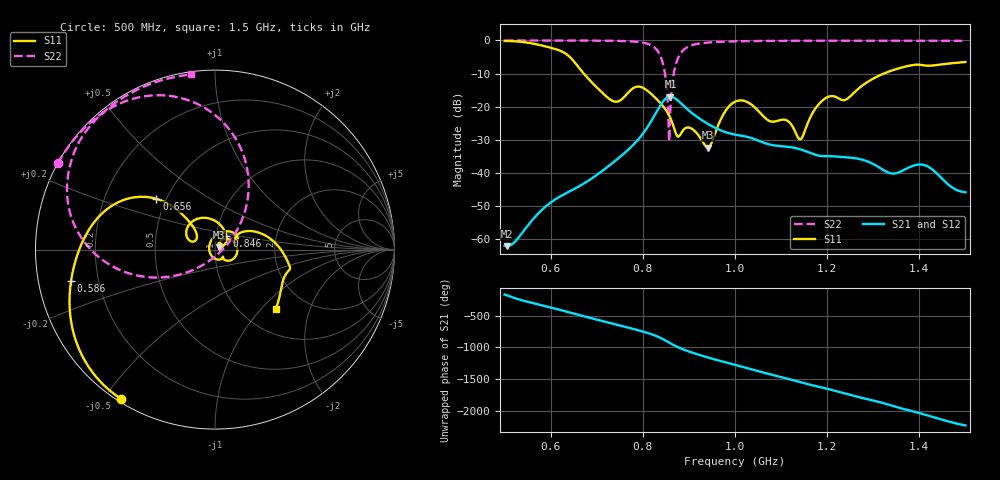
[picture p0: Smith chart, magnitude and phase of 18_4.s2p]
! TOUCHSTONE file generated by CST MICROWAVE STUDIO
! Date and time: Wed Oct 28 19:16:47 2020
! Project name: Scenario_1_Circular_Tissue_out_of_Line.cst
! Parameters = {dy1=-51.203; L_HA=400; MT=2.54; Rad_Dielectric=30; Rad_Lower=7.3; Rad_Upper=30; a_HA=580; a_WG=246; b_HA=500; b_WG=121; c_HA=0; c_WG=187; d_feed=85; dx1=693; h_feed=15; h_lower=18; h_upper=40}
! Header version: 2018
! Port assignment regex: !\s*Touchstone port\s*([0-9]+)\s*=\s*(CST MWS port|CST DS port)\s*([0-9]+|Zmin|Zmax)\s*\(\"(.*)\"\)(\s*mode\s*([0-9]+))?.*
! Touchstone port assignment:
! Touchstone port 1 = CST MWS port 1 ("")
! Touchstone port 2 = CST MWS port 2 ("")
# GHz S DB R 50
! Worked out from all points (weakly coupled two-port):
!   1001 points, 500 MHz to 1.5 GHz, reference 50 ohm
!   highest |S21| = -16.98 dB at 860 MHz (marker M1); lowest = -62.1 dB at 505 MHz (marker M2)
!   lowest |S11| = -32.3 dB at 941 MHz (marker M3), VSWR 1.05, Z = 52.1 + j1.36 ohm
!   |S11| at or under -10 dB: 671.7 MHz to 1.323 GHz (651.1 MHz wide, 65.3 % of centre)
!   |S22| runs from -30.4 to 0.0 dB; largest |S21 - S12| = 0.00012
!   S11 on the Smith chart (normalised r, x): 500 MHz: 0.01, -0.55; 586 MHz: 0.10, -0.11; 656 MHz: 0.44, +0.31; 846 MHz: 1.12, +0.17; 1.5 GHz: 1.43, -1.21
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0.5  -0.16 -122.3  -61.99 -166.7  -61.99 -166.7  -0.01 151.1
0.505  -0.16 -124.6  -62.10 -179.1  -62.10 -179.1  -0.01 150.8
0.586  -1.71 -167.6  -50.50 15.7  -50.50 15.7  -0.02 145.2
0.656  -7.29 139.1  -44.47 -120.1  -44.47 -120.1  -0.04 139.4
0.667  -9.21 134.9  -43.60 -141.3  -43.60 -141.3  -0.04 138.3
0.736  -18.36 147.0  -36.80 91.6  -36.80 91.6  -0.12 129.9
0.779  -14.42 147.2  -31.54 10.8  -31.54 10.8  -0.32 120.5
0.834  -18.29 65.8  -20.48 -117.1  -20.48 -117.1  -3.58 82.2
0.846  -20.21 49.3  -18.08 -160.7  -18.08 -160.7  -8.49 60.2
0.855  -22.11 36.7  -17.12 163.1  -17.12 163.1  -21.69 26.0
0.86  -23.51 30.2  -16.98 142.7  -16.98 142.7  -20.02 -126.2
0.868  -26.54 25.3  -17.31 111.3  -17.31 111.3  -9.27 -153.1
0.88  -28.70 46.5  -18.62 69.6  -18.62 69.6  -4.36 -172.8
0.904  -26.49 27.9  -21.64 3.4  -21.64 3.4  -1.56 165.5
0.941  -32.34 32.7  -25.17 -80.6  -25.17 -80.6  -0.64 150.9
1  -18.50 14.0  -28.43 163.3  -28.43 163.3  -0.27 140.1
1.113  -24.18 -63.6  -32.07 -53.0  -32.07 -53.0  -0.12 128.5
1.141  -29.88 -168.3  -32.84 -109.1  -32.84 -109.1  -0.10 126.2
1.167  -22.24 88.8  -34.14 -158.2  -34.14 -158.2  -0.09 124.1
1.334  -9.39 6.0  -39.96 -106.4  -39.86 -106.2  -0.08 111.4
1.41  -7.52 -17.8  -37.59 101.0  -37.58 100.6  -0.10 105.5
1.5  -6.50 -44.1  -45.83 -74.3  -45.84 -74.3  -0.13 97.8
